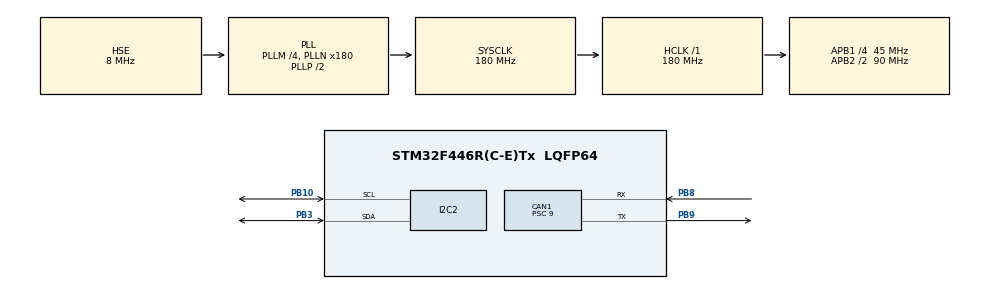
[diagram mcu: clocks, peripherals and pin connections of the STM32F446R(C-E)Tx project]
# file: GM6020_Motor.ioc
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CAN1.ABOM=ENABLE
CAN1.AWUM=ENABLE
CAN1.BS1=CAN_BS1_2TQ
CAN1.BS2=CAN_BS2_2TQ
CAN1.CalculateBaudRate=1000000
CAN1.CalculateTimeBit=1000
CAN1.CalculateTimeQuantum=200.0
CAN1.NART=ENABLE
CAN1.Prescaler=9
CAN1.SJW=CAN_SJW_2TQ
CAN1.TXFP=ENABLE
I2C2.I2C_Mode=I2C_Fast
Mcu.Family=STM32F4
Mcu.Name=STM32F446R(C-E)Tx
Mcu.Package=LQFP64
NVIC.CAN1_RX0_IRQn=true\:0\:0\:false\:false\:true\:true\:true\:true
NVIC.PriorityGroup=NVIC_PRIORITYGROUP_4
NVIC.TIM6_DAC_IRQn=true\:0\:0\:false\:false\:true\:true\:true\:true
NVIC.TIM7_IRQn=true\:0\:0\:false\:false\:true\:true\:true\:true
PA13.Mode=Serial_Wire
PA13.Signal=SYS_JTMS-SWDIO
PA14.Mode=Serial_Wire
PA14.Signal=SYS_JTCK-SWCLK
PB10.Mode=I2C
PB10.Signal=I2C2_SCL
PB3.Mode=I2C
PB3.Signal=I2C2_SDA
PB5.Signal=CAN2_RX
PB6.Signal=CAN2_TX
PB8.Mode=CAN_Activate
PB8.Signal=CAN1_RX
PB9.Mode=CAN_Activate
PB9.Signal=CAN1_TX
PH0-OSC_IN.Mode=HSE-External-Clock-Source
PH0-OSC_IN.Signal=RCC_OSC_IN
PH1-OSC_OUT.Mode=HSE-External-Clock-Source
PH1-OSC_OUT.Signal=RCC_OSC_OUT
ProjectManager.HeapSize=0x200
ProjectManager.StackSize=0x400
ProjectManager.TargetToolchain=Makefile
RCC.AHBFreq_Value=180000000
RCC.APB1CLKDivider=RCC_HCLK_DIV4
RCC.APB1Freq_Value=45000000
RCC.APB1TimFreq_Value=90000000
RCC.APB2CLKDivider=RCC_HCLK_DIV2
RCC.APB2Freq_Value=90000000
RCC.APB2TimFreq_Value=180000000
RCC.CortexFreq_Value=180000000
RCC.HCLKFreq_Value=180000000
RCC.HSE_VALUE=8000000
RCC.PLLM=4
RCC.PLLN=180
RCC.PLLSourceVirtual=RCC_PLLSOURCE_HSE
RCC.SYSCLKFreq_VALUE=180000000
RCC.SYSCLKSource=RCC_SYSCLKSOURCE_PLLCLK
RCC.USBFreq_Value=180000000
RCC.VCOOutputFreq_Value=360000000
TIM6.AutoReloadPreload=TIM_AUTORELOAD_PRELOAD_ENABLE
TIM6.Period=3999
TIM6.Prescaler=8999
TIM7.AutoReloadPreload=TIM_AUTORELOAD_PRELOAD_ENABLE
TIM7.Period=9
TIM7.Prescaler=8999
VP_TIM6_VS_ClockSourceINT.Mode=Enable_Timer
VP_TIM7_VS_ClockSourceINT.Mode=Enable_Timer
board=custom

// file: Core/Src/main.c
/* USER CODE BEGIN Header */
/**
 ******************************************************************************
 * @file           : main.c
 * @brief          : Main program body
 ******************************************************************************
 * @attention
 *
 * Copyright (c) 2024 STMicroelectronics.
 * All rights reserved.
 *
 * This software is licensed under terms that can be found in the LICENSE file
 * in the root directory of this software component.
 * If no LICENSE file comes with this software, it is provided AS-IS.
 *
 ******************************************************************************
 */
/* USER CODE END Header */
#include "main.h"
#include "can.h"
#include "gpio.h"
#include "i2c.h"
#include "tim.h"

/* USER CODE BEGIN Includes */

#include "fonts.h"
#include "ssd1306.h"
#include "strings.h"

/* USER CODE END Includes */

/* USER CODE BEGIN PM */

#define FEEDBACK_ID_BASE 0x205
#define CAN_CONTROL_ID_BASE 0x1ff
#define CAN_CONTROL_ID_EXTEND 0x2ff
#define MOTOR_MAX_NUM 7

// 电机信息结构�???
typedef struct {
  // CAN ID
  uint16_t can_id;
  // 设置的电压�??
  int16_t set_voltage;
  // 电机的转子角�???
  uint16_t rotor_angle;
  // 电机的转子�?�度
  int16_t rotor_speed;
  // 电机的扭矩电�???
  int16_t torque_current;
  // 电机的温�???
  uint8_t temperature;
} motor_info_t;

/* USER CODE END PM */

/* USER CODE BEGIN PV */

// 电机信息
motor_info_t motor_info[MOTOR_MAX_NUM] = {0};

uint8_t show_count = 0;

int16_t voltage = 0;
int8_t voltage_step = 2;
int16_t voltage_count = 0;

/* USER CODE END PV */

void SystemClock_Config(void);
/* USER CODE BEGIN PFP */

void HAL_CAN_RxFifo0MsgPendingCallback(CAN_HandleTypeDef *hcan) {
  CAN_RxHeaderTypeDef rx_header = {0};
  uint8_t rx_data[8];

  HAL_CAN_GetRxMessage(hcan, CAN_RX_FIFO0, &rx_header, rx_data); // 接收数据

  // 判断是否为电机反馈数�???
  if (rx_header.StdId >= FEEDBACK_ID_BASE &&
      rx_header.StdId < FEEDBACK_ID_BASE + MOTOR_MAX_NUM) {
    uint8_t index = rx_header.StdId - FEEDBACK_ID_BASE; // 获取电机索引
    motor_info[index].rotor_angle = ((rx_data[0] << 8) | rx_data[1]);
    motor_info[index].rotor_speed = ((rx_data[2] << 8) | rx_data[3]);
    motor_info[index].torque_current = ((rx_data[4] << 8) | rx_data[5]);
    motor_info[index].temperature = rx_data[6];
  }
}

/**
 * @brief  通过 CAN 总线发�?�电机控制数�???
 * @param  id_range 设置 CAN ID 范围�???0 对应 0x1ff�???1 对应 0x2ff
 * @param  v1 电机 1 �??? 5 的电�???
 * @param  v2 电机 2 �??? 6 的电�???
 * @param  v3 电机 3 �??? 7 的电�???
 * @param  v4 电机 4 的电�???
 * @retval None
 */
void set_motor_voltage(uint8_t id_range, int16_t v1, int16_t v2, int16_t v3,
                       int16_t v4) {
  CAN_TxHeaderTypeDef tx_header;
  uint8_t tx_data[8];

  tx_header.StdId = id_range == 0 ? 0x1ff : 0x2ff;
  tx_header.IDE = CAN_ID_STD;
  tx_header.RTR = CAN_RTR_DATA;
  tx_header.DLC = 8;

  tx_data[0] = v1 >> 8;
  tx_data[1] = v1;
  tx_data[2] = v2 >> 8;
  tx_data[3] = v2;
  tx_data[4] = v3 >> 8;
  tx_data[5] = v3;
  tx_data[6] = v4 >> 8;
  tx_data[7] = v4;

  HAL_CAN_AddTxMessage(&hcan1, &tx_header, tx_data,
                       (uint32_t *)CAN_TX_MAILBOX0);
  // HAL_CAN_AddTxMessage(&hcan2, &tx_header, tx_data, (uint32_t
  // *)CAN_TX_MAILBOX0);
}

// 定时器中断回调函�???
void HAL_TIM_PeriodElapsedCallback(TIM_HandleTypeDef *htim) {
	if (htim->Instance == TIM6) {
		//uint8_t id = ++show_count / 4;
		uint8_t id = 1;

		if (show_count == 31) {
			show_count = 0;
		}

		char buffer[64] = { 0 };

		ssd1306_Fill(Black);

		// 展示电机信息
		ssd1306_SetCursor(0, 0);
		ssd1306_WriteString("Motor  Info", Font_11x18, White);

		ssd1306_SetCursor(0, 20);
		ssd1306_WriteString("Angle:", Font_7x10, White);
		ssd1306_SetCursor(0, 30);
		ssd1306_WriteString("Speed:", Font_7x10, White);
		ssd1306_SetCursor(0, 40);
		ssd1306_WriteString("Torque:", Font_7x10, White);
		ssd1306_SetCursor(0, 50);
		ssd1306_WriteString("Temp:", Font_7x10, White);

		// 写电�??? ID
		ssd1306_SetCursor(58, 0);
		ssd1306_WriteChar('1' + id, Font_11x18, White);

		ssd1306_SetCursor(50, 20);
		uint16ToString(motor_info[id].rotor_angle, buffer, 0);
		ssd1306_WriteString(buffer, Font_7x10, White);

		ssd1306_SetCursor(50, 30);
		int16ToString(motor_info[id].rotor_speed, buffer, 0);
		ssd1306_WriteString(buffer, Font_7x10, White);

		ssd1306_SetCursor(57, 40);
		int16ToString(motor_info[id].torque_current, buffer, 0);
		ssd1306_WriteString(buffer, Font_7x10, White);

		ssd1306_SetCursor(43, 50);
		uint8ToString(motor_info[id].temperature, buffer, 0);
		ssd1306_WriteString(buffer, Font_7x10, White);

		ssd1306_UpdateScreen(&hi2c2);
	}

	if (htim->Instance == TIM7) {
		voltage += voltage_step;
		if (voltage == 25000) {
			voltage_step = 0;
			voltage_count++;
		} else if (voltage == -25000) {
			voltage_step = 0;
			voltage_count--;
		}

		if (voltage_step == 0) {
			if (voltage_count == 10000) {
				voltage_step = -2;
				voltage_count = 0;
			} else if (voltage_count == -10000) {
				voltage_step = 2;
				voltage_count = 0;
			}
		}
	}
}

/* USER CODE END PFP */

int main(void) {

  /* MCU Configuration--------------------------------------------------------*/

  /* Reset of all peripherals, Initializes the Flash interface and the Systick.
   */
  HAL_Init();

  /* Configure the system clock */
  SystemClock_Config();

  /* Initialize all configured peripherals */
  MX_GPIO_Init();
  MX_CAN1_Init();
  MX_I2C2_Init();
  MX_TIM6_Init();
  MX_TIM7_Init();
  /* USER CODE BEGIN 2 */

  if (ssd1306_Init(&hi2c2) != 0) {
    Error_Handler();
  }

  CAN_FilterTypeDef can_filter;

  can_filter.FilterBank = 0;                     // filter 0
  can_filter.FilterMode = CAN_FILTERMODE_IDMASK; // mask mode
  can_filter.FilterScale = CAN_FILTERSCALE_32BIT;
  can_filter.FilterIdHigh = 0;
  can_filter.FilterIdLow = 0;
  can_filter.FilterMaskIdHigh = 0;
  can_filter.FilterMaskIdLow = 0; // set mask 0 to receive all can id
  can_filter.FilterFIFOAssignment = CAN_RX_FIFO0; // assign to fifo0
  can_filter.FilterActivation = ENABLE;           // enable can filter
  can_filter.SlaveStartFilterBank = 14; // only meaningful in dual can mode

  HAL_CAN_ConfigFilter(&hcan1, &can_filter); // init can1 filter
  HAL_CAN_Start(&hcan1);                     // start can1
  HAL_CAN_ActivateNotification(
      &hcan1, CAN_IT_RX_FIFO0_MSG_PENDING); // enable can1 rx interrupt

  // HAL_CAN_ConfigFilter(&hcan2, &can_filter); // init can1 filter
  // HAL_CAN_Start(&hcan2); // start can2
  // HAL_CAN_ActivateNotification(&hcan2, CAN_IT_RX_FIFO0_MSG_PENDING); //
  // enable can2 rx interrupt

  // 展示电机信息
  ssd1306_SetCursor(0, 0);
  ssd1306_WriteString("Motor  Info", Font_11x18, White);

  ssd1306_SetCursor(0, 20);
  ssd1306_WriteString("Angle:", Font_7x10, White);
  ssd1306_SetCursor(0, 30);
  ssd1306_WriteString("Speed:", Font_7x10, White);
  ssd1306_SetCursor(0, 40);
  ssd1306_WriteString("Torque:", Font_7x10, White);
  ssd1306_SetCursor(0, 50);
  ssd1306_WriteString("Temp:", Font_7x10, White);
  ssd1306_UpdateScreen(&hi2c2);

  HAL_TIM_Base_Start_IT(&htim6); // 启动定时�???6
  HAL_TIM_Base_Start_IT(&htim7); // 启动定时�???7
  /* USER CODE END 2 */

  /* Infinite loop */
  while (1) {

    /* USER CODE BEGIN 3 */
    set_motor_voltage(0, 1000, voltage, 1000, 1000); // 设置电机 1~4 电压
  }
  /* USER CODE END 3 */
}

void SystemClock_Config(void) {
  RCC_OscInitTypeDef RCC_OscInitStruct = {0};
  RCC_ClkInitTypeDef RCC_ClkInitStruct = {0};

  /** Configure the main internal regulator output voltage
   */
  __HAL_RCC_PWR_CLK_ENABLE();
  __HAL_PWR_VOLTAGESCALING_CONFIG(PWR_REGULATOR_VOLTAGE_SCALE1);

  /** Initializes the RCC Oscillators according to the specified parameters
   * in the RCC_OscInitTypeDef structure.
   */
  RCC_OscInitStruct.OscillatorType = RCC_OSCILLATORTYPE_HSE;
  RCC_OscInitStruct.HSEState = RCC_HSE_BYPASS;
  RCC_OscInitStruct.PLL.PLLState = RCC_PLL_ON;
  RCC_OscInitStruct.PLL.PLLSource = RCC_PLLSOURCE_HSE;
  RCC_OscInitStruct.PLL.PLLM = 4;
  RCC_OscInitStruct.PLL.PLLN = 180;
  RCC_OscInitStruct.PLL.PLLP = RCC_PLLP_DIV2;
  RCC_OscInitStruct.PLL.PLLQ = 2;
  RCC_OscInitStruct.PLL.PLLR = 2;
  if (HAL_RCC_OscConfig(&RCC_OscInitStruct) != HAL_OK) {
    Error_Handler();
  }

  /** Activate the Over-Drive mode
   */
  if (HAL_PWREx_EnableOverDrive() != HAL_OK) {
    Error_Handler();
  }

  /** Initializes the CPU, AHB and APB buses clocks
   */
  RCC_ClkInitStruct.ClockType = RCC_CLOCKTYPE_HCLK | RCC_CLOCKTYPE_SYSCLK |
                                RCC_CLOCKTYPE_PCLK1 | RCC_CLOCKTYPE_PCLK2;
  RCC_ClkInitStruct.SYSCLKSource = RCC_SYSCLKSOURCE_PLLCLK;
  RCC_ClkInitStruct.AHBCLKDivider = RCC_SYSCLK_DIV1;
  RCC_ClkInitStruct.APB1CLKDivider = RCC_HCLK_DIV4;
  RCC_ClkInitStruct.APB2CLKDivider = RCC_HCLK_DIV2;

  if (HAL_RCC_ClockConfig(&RCC_ClkInitStruct, FLASH_LATENCY_5) != HAL_OK) {
    Error_Handler();
  }
}

void Error_Handler(void) {
  __disable_irq();
  while (1) {
  }
}

#ifdef USE_FULL_ASSERT
/**
 * @brief  Reports the name of the source file and the source line number
 *         where the assert_param error has occurred.
 * @param  file: pointer to the source file name
 * @param  line: assert_param error line source number
 * @retval None
 */
void assert_failed(uint8_t *file, uint32_t line) {
  /* USER CODE BEGIN 6 */
  /* User can add his own implementation to report the file name and line
     number, ex: printf("Wrong parameters value: file %s on line %d\r\n", file,
     line) */
  /* USER CODE END 6 */
}
#endif /* USE_FULL_ASSERT */
